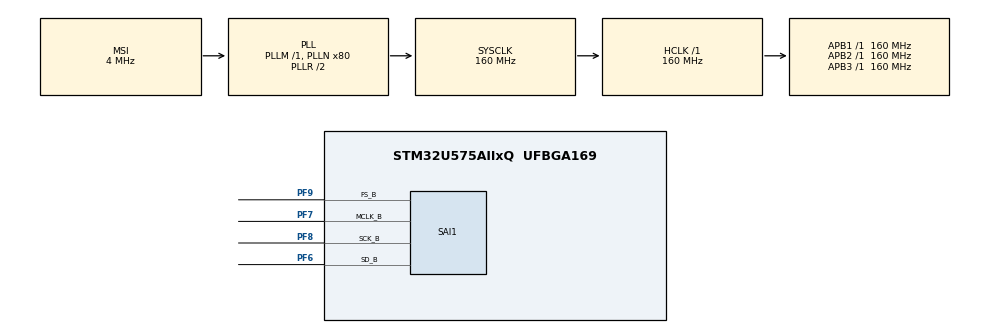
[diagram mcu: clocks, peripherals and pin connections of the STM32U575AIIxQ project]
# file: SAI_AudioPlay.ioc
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CORTEX_M33_NS.userName=CORTEX_M33
GPDMA1.LINKEDLISTMODE_GPDMACH12=DMA_LINKEDLIST_CIRCULAR
GPDMA1.PRIORITY_LL_GPDMACH12=DMA_HIGH_PRIORITY
Linkedlist.MDMA_Channel0.GP_SW.0.BlkHWRequest=DMA_BREQ_SINGLE_BURST
Linkedlist.MDMA_Channel0.GP_SW.0.DataHandling=NONE
Linkedlist.MDMA_Channel0.GP_SW.0.DataSize=0
Linkedlist.MDMA_Channel0.GP_SW.0.DestBurstLength=1
Linkedlist.MDMA_Channel0.GP_SW.0.DestDataWidth=DMA_DEST_DATAWIDTH_HALFWORD
Linkedlist.MDMA_Channel0.GP_SW.0.DestInc=DMA_DINC_FIXED
Linkedlist.MDMA_Channel0.GP_SW.0.Direction=DMA_MEMORY_TO_PERIPH
Linkedlist.MDMA_Channel0.GP_SW.0.DstAddress=0
Linkedlist.MDMA_Channel0.GP_SW.0.Instance=MDMA_Channel0
Linkedlist.MDMA_Channel0.GP_SW.0.LL_CIRCULARNODE=NodeTx
Linkedlist.MDMA_Channel0.GP_SW.0.LL_MASTERDMA=GPDMA
Linkedlist.MDMA_Channel0.GP_SW.0.LL_NAME=SAIQueue
Linkedlist.MDMA_Channel0.GP_SW.0.LL_TYPE=CIRCULAR
Linkedlist.MDMA_Channel0.GP_SW.0.NODE_NAME=NodeTx
Linkedlist.MDMA_Channel0.GP_SW.0.Requestforcodegen=GPDMA1_REQUEST_SAI1_B
Linkedlist.MDMA_Channel0.GP_SW.0.SrcAddress=0
Linkedlist.MDMA_Channel0.GP_SW.0.SrcBurstLength=1
Linkedlist.MDMA_Channel0.GP_SW.0.SrcDataWidth=DMA_SRC_DATAWIDTH_HALFWORD
Linkedlist.MDMA_Channel0.GP_SW.0.SrcInc=DMA_SINC_INCREMENTED
Linkedlist.MDMA_Channel0.GP_SW.0.TransferAllocatedPortSrc=DMA_SRC_ALLOCATED_PORT0
Linkedlist.MDMA_Channel0.GP_SW.0.TransferEventMode=DMA_TCEM_BLOCK_TRANSFER
Linkedlist.MDMA_Channel0.GP_SW.0.TriggerPolarity=DMA_TRIG_POLARITY_MASKED
Linkedlist.MDMA_Channel0.Request0=GP_SW
Linkedlist.MDMA_Channel0.RequestsNb=1
Linkedlist.RequestSet0=MDMA_Channel0
Linkedlist.RequestSetsNb=1
Mcu.Family=STM32U5
Mcu.Name=STM32U575AIIxQ
Mcu.Package=UFBGA169
NVIC.GPDMA1_Channel12_IRQn=true\:0\:0\:false\:false\:true\:true\:true\:true
NVIC.PriorityGroup=NVIC_PRIORITYGROUP_4
PF6.Mode=SAI_B_MasterWithClock
PF6.Signal=SAI1_SD_B
PF7.Mode=SAI_B_MasterWithClock
PF7.Signal=SAI1_MCLK_B
PF8.Mode=SAI_B_MasterWithClock
PF8.Signal=SAI1_SCK_B
PF9.Mode=SAI_B_MasterWithClock
PF9.Signal=SAI1_FS_B
PWR.PowerMode=PWR_SMPS_SUPPLY
ProjectManager.HeapSize=0x200
ProjectManager.StackSize=0x400
ProjectManager.TargetToolchain=EWARM V8.50
RCC.ADCFreq_Value=16000000
RCC.AHBFreq_Value=160000000
RCC.APB1Freq_Value=160000000
RCC.APB1TimFreq_Value=160000000
RCC.APB2Freq_Value=160000000
RCC.APB2TimFreq_Value=160000000
RCC.APB3Freq_Value=160000000
RCC.CortexFreq_Value=160000000
RCC.DACCLockSelectionVirtual=RCC_DAC1CLKSOURCE_LSI
RCC.DACCLockSelectionVirtualString=RCC_DAC1CLKSOURCE_LSI
RCC.EPOD_VALUE=4000000
RCC.HCLKFreq_Value=160000000
RCC.HSE_VALUE=16000000
RCC.HSI48_VALUE=48000000
RCC.HSI_VALUE=16000000
RCC.LSE_VALUE=32768
RCC.LSIDIV_VALUE=32000
RCC.MSI_VALUE=4000000
RCC.PLL2N=48
RCC.PLL2P=17
RCC.PLLN=80
RCC.SYSCLKFreq_VALUE=160000000
RCC.SYSCLKSource=RCC_SYSCLKSOURCE_PLLCLK
RCC.USBFreq_Value=48000000
RCC.VCOOutputFreq_Value=320000000
SAI1.ActiveFrameLength-SAI_B_MasterWithClock=16
SAI1.AudioFrequency-SAI_B_MasterWithClock=SAI_AUDIO_FREQUENCY_22K
SAI1.DataSize-SAI_B_MasterWithClock=SAI_DATASIZE_16
SAI1.ErrorAudioFreq-SAI_B_MasterWithClock=0.26 %
SAI1.FIFOThreshold-SAI_B_MasterWithClock=SAI_FIFOTHRESHOLD_1QF
SAI1.FSDefinition-SAI_B_MasterWithClock=SAI_FS_CHANNEL_IDENTIFICATION
SAI1.FSOffset-SAI_B_MasterWithClock=SAI_FS_BEFOREFIRSTBIT
SAI1.FrameLength-SAI_B_MasterWithClock=32
SAI1.Instance-SAI_B_MasterWithClock=SAI$Index_Block_B
SAI1.MckOutput-SAI_B_MasterWithClock=SAI_MCK_OUTPUT_ENABLE
SAI1.RealAudioFreq-SAI_B_MasterWithClock=22.058 KHz
SAI1.SlotActive-SAI_B_MasterWithClock=0x00000003
SAI1.SlotNumber-SAI_B_MasterWithClock=2
SAI1.VirtualMode-SAI_B_MasterWithClock=VM_MASTER
SAI1.VirtualSlotActive-SAI_B_MasterWithClock=SAI_SLOT_USERSETTING
SAI1.VirtualSlotActive0-SAI_B_MasterWithClock=true
SAI1.VirtualSlotActive1-SAI_B_MasterWithClock=true
VP_GPDMA1_VS_GPDMACH12.Mode=LINKEDLIST_GPDMACH12
VP_ICACHE_VS_ICACHE.Mode=DirectMappedCache
VP_LPBAMQUEUE_VS_QUEUE.Mode=QUEUEMODE
VP_LPBAM_VS_SIG1.Mode=SmartRun
VP_LPBAM_VS_SIG4.Mode=LPDMA1
VP_PWR_VS_DBSignals.Mode=DisableDeadBatterySignals
VP_PWR_VS_LPOM.Mode=PowerOptimisation
VP_PWR_VS_SECSignals.Mode=Security/Privilege
board=custom

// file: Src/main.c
/* USER CODE BEGIN Header */
/**
  ******************************************************************************
  * @file           : main.c
  * @brief          : Main program body
  ******************************************************************************
  * @attention
  *
  * Copyright (c) 2021 STMicroelectronics.
  * All rights reserved.
  *
  * This software is licensed under terms that can be found in the LICENSE file
  * in the root directory of this software component.
  * If no LICENSE file comes with this software, it is provided AS-IS.
  *
  ******************************************************************************
  */
/* USER CODE END Header */
#include "main.h"

/* USER CODE BEGIN Includes */
#include "linked_list.h"
/* USER CODE END Includes */

DMA_HandleTypeDef handle_GPDMA1_Channel12;

SAI_HandleTypeDef hsai_BlockB1;

/* USER CODE BEGIN PV */
static AUDIO_Drv_t *AudioDrv = NULL;
void *AudioCompObj;

/* Buffer location should aligned to cache line size (32 bytes) */
uint16_t PlayBuff[PLAY_BUFF_SIZE];

__IO int16_t UpdatePointer = -1;
  CS42L51_Init_t codec_init;
 extern DMA_QListTypeDef SAIQueue;
/* USER CODE END PV */

void SystemClock_Config(void);
static void SystemPower_Config(void);
static void MX_GPIO_Init(void);
static void MX_GPDMA1_Init(void);
static void MX_ICACHE_Init(void);
static void MX_SAI1_Init(void);
/* USER CODE BEGIN PFP */
static int32_t CS42L51_Probe(void);
static int32_t CS42L51_PowerUp(void);
/* USER CODE END PFP */

int main(void)
{

  /* USER CODE BEGIN 1 */
  /* STM32U5xx HAL library initialization:
       - Configure the Flash prefetch
       - Configure the Systick to generate an interrupt each 1 msec
       - Set NVIC Group Priority to 3
       - Low Level Initialization
     */
  /* USER CODE END 1 */

  /* MCU Configuration--------------------------------------------------------*/

  /* Reset of all peripherals, Initializes the Flash interface and the Systick. */
  HAL_Init();

  /* USER CODE BEGIN Init */
  uint32_t PlaybackPosition   = PLAY_BUFF_SIZE + PLAY_HEADER;
  /* USER CODE END Init */

  /* Configure the System Power */
  SystemPower_Config();

  /* Configure the system clock */
  SystemClock_Config();

  /* Initialize all configured peripherals */
  MX_GPIO_Init();
  MX_GPDMA1_Init();
  MX_ICACHE_Init();
  MX_SAI1_Init();
  /* USER CODE BEGIN 2 */
  BSP_LED_Init(LED5);
  BSP_LED_Init(LED6);

  /* Check if the buffer has been loaded in flash */
  if(*((uint64_t *)AUDIO_FILE_ADDRESS) != 0x017EFE2446464952 ) Error_Handler();

    /* Associate the DMA handle */
  __HAL_LINKDMA(&hsai_BlockB1, hdmatx, handle_GPDMA1_Channel12);

   MX_SAIQueue_Config();

  /* Link SAI queue to DMA channel */
  HAL_DMAEx_List_LinkQ(&handle_GPDMA1_Channel12, &SAIQueue);

  CS42L51_PowerUp();
  CS42L51_Probe();

 /* Fill codec_init structure */
 codec_init.InputDevice  = CS42L51_IN_NONE;
 codec_init.OutputDevice = CS42L51_OUT_HEADPHONE;
 codec_init.Frequency    = AUDIO_FREQUENCY_22K;
 codec_init.Resolution   = CS42L51_RESOLUTION_16B; /* Not used */
 codec_init.Volume       = 80;

 /* Initialize the codec internal registers */
 if(AudioDrv->Init(AudioCompObj, &codec_init) < 0)
 {
   Error_Handler();
 }

  /* Initialize the data buffer */
  for(int i=0; i < PLAY_BUFF_SIZE; i+=2)
  {
    PlayBuff[i]=*((__IO uint16_t *)(AUDIO_FILE_ADDRESS + PLAY_HEADER + i));
  }

  /* Start the playback */
  if(0 != AudioDrv->Play(AudioCompObj))
  {
    Error_Handler();
  }

  if(HAL_OK != HAL_SAI_Transmit_DMA(&hsai_BlockB1, (uint8_t *)PlayBuff, PLAY_BUFF_SIZE))
  {
    Error_Handler();
  }

  /* USER CODE END 2 */

  /* Infinite loop */
  while (1)
  {

    /* USER CODE BEGIN 3 */
     BSP_LED_Toggle(LED5);

    /* Wait a callback event */
    while(UpdatePointer==-1);

    int position = UpdatePointer;
    UpdatePointer = -1;

    /* Update the first or the second part of the buffer */
    for(int i = 0; i < PLAY_BUFF_SIZE/2; i++)
    {
      PlayBuff[i+position] = *(uint16_t *)(AUDIO_FILE_ADDRESS + PlaybackPosition);
      PlaybackPosition+=2;
    }

    /* check the end of the file */
    if((PlaybackPosition+PLAY_BUFF_SIZE/2) > AUDIO_FILE_SIZE)
    {
      PlaybackPosition = PLAY_HEADER;
    }

    if(UpdatePointer != -1)
    {
      /* Buffer update time is too long compare to the data transfer time */
      Error_Handler();
    }
  }
  /* USER CODE END 3 */
}

void SystemClock_Config(void)
{
  RCC_OscInitTypeDef RCC_OscInitStruct = {0};
  RCC_ClkInitTypeDef RCC_ClkInitStruct = {0};

  /** Configure the main internal regulator output voltage
  */
  if (HAL_PWREx_ControlVoltageScaling(PWR_REGULATOR_VOLTAGE_SCALE1) != HAL_OK)
  {
    Error_Handler();
  }

  /** Initializes the CPU, AHB and APB buses clocks
  */
  RCC_OscInitStruct.OscillatorType = RCC_OSCILLATORTYPE_MSI;
  RCC_OscInitStruct.MSIState = RCC_MSI_ON;
  RCC_OscInitStruct.MSICalibrationValue = RCC_MSICALIBRATION_DEFAULT;
  RCC_OscInitStruct.MSIClockRange = RCC_MSIRANGE_4;
  RCC_OscInitStruct.PLL.PLLState = RCC_PLL_ON;
  RCC_OscInitStruct.PLL.PLLSource = RCC_PLLSOURCE_MSI;
  RCC_OscInitStruct.PLL.PLLMBOOST = RCC_PLLMBOOST_DIV1;
  RCC_OscInitStruct.PLL.PLLM = 1;
  RCC_OscInitStruct.PLL.PLLN = 80;
  RCC_OscInitStruct.PLL.PLLP = 2;
  RCC_OscInitStruct.PLL.PLLQ = 2;
  RCC_OscInitStruct.PLL.PLLR = 2;
  RCC_OscInitStruct.PLL.PLLRGE = RCC_PLLVCIRANGE_0;
  RCC_OscInitStruct.PLL.PLLFRACN = 0;
  if (HAL_RCC_OscConfig(&RCC_OscInitStruct) != HAL_OK)
  {
    Error_Handler();
  }

  /** Initializes the CPU, AHB and APB buses clocks
  */
  RCC_ClkInitStruct.ClockType = RCC_CLOCKTYPE_HCLK|RCC_CLOCKTYPE_SYSCLK
                              |RCC_CLOCKTYPE_PCLK1|RCC_CLOCKTYPE_PCLK2
                              |RCC_CLOCKTYPE_PCLK3;
  RCC_ClkInitStruct.SYSCLKSource = RCC_SYSCLKSOURCE_PLLCLK;
  RCC_ClkInitStruct.AHBCLKDivider = RCC_SYSCLK_DIV1;
  RCC_ClkInitStruct.APB1CLKDivider = RCC_HCLK_DIV1;
  RCC_ClkInitStruct.APB2CLKDivider = RCC_HCLK_DIV1;
  RCC_ClkInitStruct.APB3CLKDivider = RCC_HCLK_DIV1;

  if (HAL_RCC_ClockConfig(&RCC_ClkInitStruct, FLASH_LATENCY_4) != HAL_OK)
  {
    Error_Handler();
  }
}

/**
  * @brief Power Configuration
  * @retval None
  */
static void SystemPower_Config(void)
{

  /*
   * Disable the internal Pull-Up in Dead Battery pins of UCPD peripheral
   */
  HAL_PWREx_DisableUCPDDeadBattery();

  /*
   * Switch to SMPS regulator instead of LDO
   */
  if (HAL_PWREx_ConfigSupply(PWR_SMPS_SUPPLY) != HAL_OK)
  {
    Error_Handler();
  }
}

static void MX_GPDMA1_Init(void)
{

  /* Peripheral clock enable */
  __HAL_RCC_GPDMA1_CLK_ENABLE();

  /* GPDMA1 interrupt Init */
    HAL_NVIC_SetPriority(GPDMA1_Channel12_IRQn, 0, 0);
    HAL_NVIC_EnableIRQ(GPDMA1_Channel12_IRQn);

  handle_GPDMA1_Channel12.Instance = GPDMA1_Channel12;
  handle_GPDMA1_Channel12.InitLinkedList.Priority = DMA_HIGH_PRIORITY;
  handle_GPDMA1_Channel12.InitLinkedList.LinkStepMode = DMA_LSM_FULL_EXECUTION;
  handle_GPDMA1_Channel12.InitLinkedList.LinkAllocatedPort = DMA_LINK_ALLOCATED_PORT0;
  handle_GPDMA1_Channel12.InitLinkedList.TransferEventMode = DMA_TCEM_LAST_LL_ITEM_TRANSFER;
  handle_GPDMA1_Channel12.InitLinkedList.LinkedListMode = DMA_LINKEDLIST_CIRCULAR;
  if (HAL_DMAEx_List_Init(&handle_GPDMA1_Channel12) != HAL_OK)
  {
    Error_Handler();
  }
  if (HAL_DMA_ConfigChannelAttributes(&handle_GPDMA1_Channel12, DMA_CHANNEL_NPRIV) != HAL_OK)
  {
    Error_Handler();
  }

}

static void MX_ICACHE_Init(void)
{

  /** Enable instruction cache in 1-way (direct mapped cache)
  */
  if (HAL_ICACHE_ConfigAssociativityMode(ICACHE_1WAY) != HAL_OK)
  {
    Error_Handler();
  }
  if (HAL_ICACHE_Enable() != HAL_OK)
  {
    Error_Handler();
  }

}

static void MX_SAI1_Init(void)
{

  hsai_BlockB1.Instance = SAI1_Block_B;
  hsai_BlockB1.Init.Protocol = SAI_FREE_PROTOCOL;
  hsai_BlockB1.Init.AudioMode = SAI_MODEMASTER_TX;
  hsai_BlockB1.Init.DataSize = SAI_DATASIZE_16;
  hsai_BlockB1.Init.FirstBit = SAI_FIRSTBIT_MSB;
  hsai_BlockB1.Init.ClockStrobing = SAI_CLOCKSTROBING_FALLINGEDGE;
  hsai_BlockB1.Init.Synchro = SAI_ASYNCHRONOUS;
  hsai_BlockB1.Init.OutputDrive = SAI_OUTPUTDRIVE_DISABLE;
  hsai_BlockB1.Init.NoDivider = SAI_MASTERDIVIDER_ENABLE;
  hsai_BlockB1.Init.FIFOThreshold = SAI_FIFOTHRESHOLD_1QF;
  hsai_BlockB1.Init.AudioFrequency = SAI_AUDIO_FREQUENCY_22K;
  hsai_BlockB1.Init.SynchroExt = SAI_SYNCEXT_DISABLE;
  hsai_BlockB1.Init.MckOutput = SAI_MCK_OUTPUT_ENABLE;
  hsai_BlockB1.Init.MonoStereoMode = SAI_STEREOMODE;
  hsai_BlockB1.Init.CompandingMode = SAI_NOCOMPANDING;
  hsai_BlockB1.Init.TriState = SAI_OUTPUT_NOTRELEASED;
  hsai_BlockB1.Init.PdmInit.Activation = DISABLE;
  hsai_BlockB1.Init.PdmInit.MicPairsNbr = 1;
  hsai_BlockB1.Init.PdmInit.ClockEnable = SAI_PDM_CLOCK1_ENABLE;
  hsai_BlockB1.FrameInit.FrameLength = 32;
  hsai_BlockB1.FrameInit.ActiveFrameLength = 16;
  hsai_BlockB1.FrameInit.FSDefinition = SAI_FS_CHANNEL_IDENTIFICATION;
  hsai_BlockB1.FrameInit.FSPolarity = SAI_FS_ACTIVE_LOW;
  hsai_BlockB1.FrameInit.FSOffset = SAI_FS_BEFOREFIRSTBIT;
  hsai_BlockB1.SlotInit.FirstBitOffset = 0;
  hsai_BlockB1.SlotInit.SlotSize = SAI_SLOTSIZE_DATASIZE;
  hsai_BlockB1.SlotInit.SlotNumber = 2;
  hsai_BlockB1.SlotInit.SlotActive = 0x00000003;
  if (HAL_SAI_Init(&hsai_BlockB1) != HAL_OK)
  {
    Error_Handler();
  }

}

static void MX_GPIO_Init(void)
{

  /* GPIO Ports Clock Enable */
  __HAL_RCC_GPIOF_CLK_ENABLE();

}

/* USER CODE BEGIN 4 */
/**
  * @brief  Register Bus IOs if component ID is OK
  * @retval error status
  */
static int32_t CS42L51_Probe(void)
{
  int32_t                   ret = BSP_ERROR_NONE;
  CS42L51_IO_t              IOCtx;
  static CS42L51_Object_t   CS42L51Obj;
  uint32_t                  cs42l51_id;

  /* Configure the audio driver */
  IOCtx.Address     = AUDIO_I2C_ADDRESS;
  IOCtx.Init        = BSP_I2C2_Init;
  IOCtx.DeInit      = BSP_I2C2_DeInit;
  IOCtx.ReadReg     = BSP_I2C2_ReadReg;
  IOCtx.WriteReg    = BSP_I2C2_WriteReg;
  IOCtx.GetTick     = BSP_GetTick;

  if(CS42L51_RegisterBusIO (&CS42L51Obj, &IOCtx) != CS42L51_OK)
  {
    ret = BSP_ERROR_BUS_FAILURE;
  }
  else if(CS42L51_ReadID(&CS42L51Obj, &cs42l51_id) != CS42L51_OK)
  {
    ret = BSP_ERROR_COMPONENT_FAILURE;
  }
  else if((cs42l51_id & CS42L51_ID_MASK) != CS42L51_ID)
  {
    ret = BSP_ERROR_UNKNOWN_COMPONENT;
  }
  else
  {
    AudioDrv = (AUDIO_Drv_t *) &CS42L51_Driver;
    AudioCompObj = &CS42L51Obj;
  }

  return ret;
}

/**
  * @brief  Un-reset CS42L51.
  * @param  None.
  * @retval BSP status.
  */
static int32_t CS42L51_PowerUp(void)
{
  int32_t ret = BSP_ERROR_NONE;;

#if (USE_BSP_IO_CLASS == 1)
  BSP_IO_Init_t IO_Init;

  /* Initialize the BSP IO driver and configure the CS42L51 reset pin */
  IO_Init.Pin  = IO_PIN_15;
  IO_Init.Mode = IO_MODE_OUTPUT_PP;
  IO_Init.Pull = IO_PULLDOWN;
  if(BSP_IO_Init(0, &IO_Init) != BSP_ERROR_NONE)
  {
    ret = BSP_ERROR_BUS_FAILURE;
  }
  else if (BSP_IO_WritePin(0, IO_PIN_15, IO_PIN_RESET) != BSP_ERROR_NONE)
  {
    ret = BSP_ERROR_BUS_FAILURE;
  }
  else
  {
    /* Un-reset the CS42L51 */
    HAL_Delay(10);
    if(BSP_IO_WritePin(0, IO_PIN_15, IO_PIN_SET) != BSP_ERROR_NONE)
    {
      ret = BSP_ERROR_BUS_FAILURE;
    }
    else
    {
      HAL_Delay(10);
    }
  }

  /* Wait 1ms according CS42L51 datasheet */
  HAL_Delay(1);
#endif /* USE_BSP_IO_CLASS == 1 */

  return ret;
}

/**
  * @brief Tx Transfer completed callbacks.
  * @param  hsai : pointer to a SAI_HandleTypeDef structure that contains
  *                the configuration information for SAI module.
  * @retval None
  */
void HAL_SAI_TxCpltCallback(SAI_HandleTypeDef *hsai)
{
  UpdatePointer = PLAY_BUFF_SIZE/2;
}

/**
  * @brief Tx Transfer Half completed callbacks
  * @param  hsai : pointer to a SAI_HandleTypeDef structure that contains
  *                the configuration information for SAI module.
  * @retval None
  */
void HAL_SAI_TxHalfCpltCallback(SAI_HandleTypeDef *hsai)
{
  UpdatePointer = 0;
}

/* USER CODE END 4 */

void Error_Handler(void)
{
  /* USER CODE BEGIN Error_Handler_Debug */
  /* LED6 On in error case */
  BSP_LED_On(LED6);
  __disable_irq();
  while (1)
  {
  }
  /* USER CODE END Error_Handler_Debug */
}
